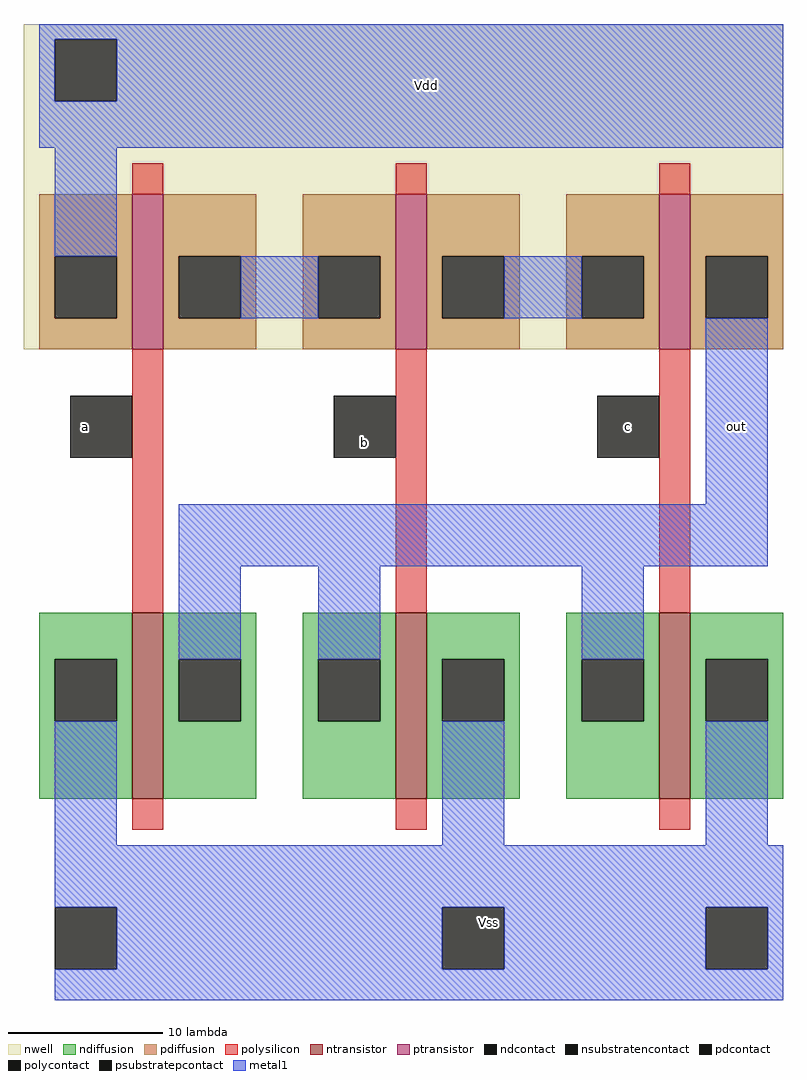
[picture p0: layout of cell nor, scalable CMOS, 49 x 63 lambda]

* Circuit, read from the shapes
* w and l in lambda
.subckt nor Vdd Vss a b c out
M1 out a Vss Vss nfet w=12 l=2
M2 Vss b out Vss nfet w=12 l=2
M3 Vss c out Vss nfet w=12 l=2
M4 n1 a Vdd Vdd pfet w=10 l=2
M5 n2 b n1 Vdd pfet w=10 l=2
M6 out c n2 Vdd pfet w=10 l=2
.ends

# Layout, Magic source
magic
tech scmos
<< nwell >>
rect 0 53 49 74
<< polysilicon >>
rect 7 63 9 65
rect 24 63 26 65
rect 41 63 43 65
rect 7 36 9 53
rect 24 36 26 53
rect 41 36 43 53
rect 7 22 9 24
rect 24 22 26 24
rect 41 22 43 24
<< ndiffusion >>
rect 1 33 7 36
rect 1 29 2 33
rect 6 29 7 33
rect 1 24 7 29
rect 9 33 15 36
rect 9 29 10 33
rect 14 29 15 33
rect 9 24 15 29
rect 18 33 24 36
rect 18 29 19 33
rect 23 29 24 33
rect 18 24 24 29
rect 26 33 32 36
rect 26 29 27 33
rect 31 29 32 33
rect 26 24 32 29
rect 35 33 41 36
rect 35 29 36 33
rect 40 29 41 33
rect 35 24 41 29
rect 43 33 49 36
rect 43 29 44 33
rect 48 29 49 33
rect 43 24 49 29
<< pdiffusion >>
rect 1 59 7 63
rect 1 55 2 59
rect 6 55 7 59
rect 1 53 7 55
rect 9 59 15 63
rect 9 55 10 59
rect 14 55 15 59
rect 9 53 15 55
rect 18 59 24 63
rect 18 55 19 59
rect 23 55 24 59
rect 18 53 24 55
rect 26 59 32 63
rect 26 55 27 59
rect 31 55 32 59
rect 26 53 32 55
rect 35 59 41 63
rect 35 55 36 59
rect 40 55 41 59
rect 35 53 41 55
rect 43 59 49 63
rect 43 55 44 59
rect 48 55 49 59
rect 43 53 49 55
<< metal1 >>
rect 1 73 49 74
rect 1 69 2 73
rect 6 69 49 73
rect 1 66 49 69
rect 2 59 6 66
rect 14 55 19 59
rect 31 55 36 59
rect 44 43 48 55
rect 10 39 48 43
rect 10 33 14 39
rect 19 33 23 39
rect 36 33 40 39
rect 2 21 6 29
rect 27 21 31 29
rect 44 21 48 29
rect 2 17 49 21
rect 6 13 27 17
rect 31 13 44 17
rect 48 13 49 17
rect 2 11 49 13
<< ntransistor >>
rect 7 24 9 36
rect 24 24 26 36
rect 41 24 43 36
<< ptransistor >>
rect 7 53 9 63
rect 24 53 26 63
rect 41 53 43 63
<< polycontact >>
rect 3 46 7 50
rect 20 46 24 50
rect 37 46 41 50
<< ndcontact >>
rect 2 29 6 33
rect 10 29 14 33
rect 19 29 23 33
rect 27 29 31 33
rect 36 29 40 33
rect 44 29 48 33
<< pdcontact >>
rect 2 55 6 59
rect 10 55 14 59
rect 19 55 23 59
rect 27 55 31 59
rect 36 55 40 59
rect 44 55 48 59
<< psubstratepcontact >>
rect 2 13 6 17
rect 27 13 31 17
rect 44 13 48 17
<< nsubstratencontact >>
rect 2 69 6 73
<< labels >>
rlabel metal1 26 70 26 70 5 Vdd
rlabel psubstratepcontact 30 16 30 16 1 Vss
rlabel polycontact 22 47 22 47 1 b
rlabel metal1 46 48 46 48 7 out
rlabel polycontact 39 48 39 48 1 c
rlabel polycontact 4 48 4 48 3 a
<< end >>
